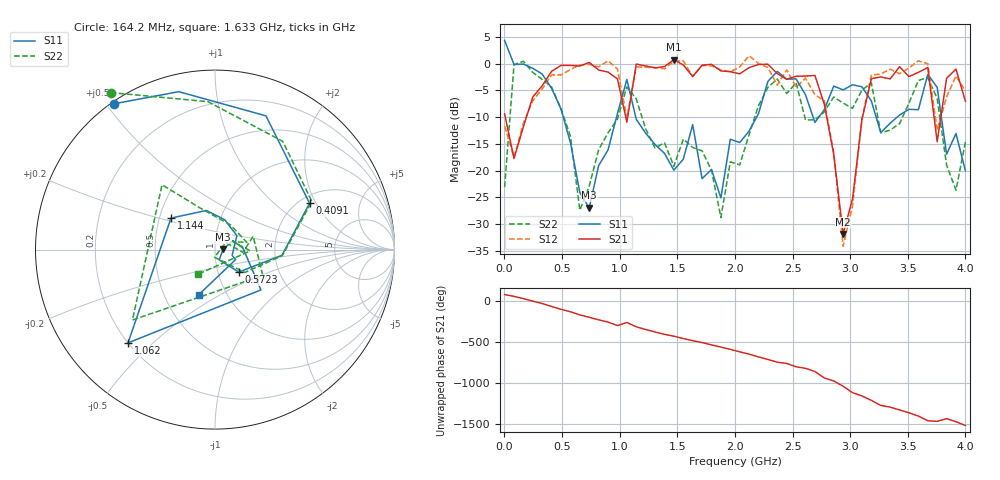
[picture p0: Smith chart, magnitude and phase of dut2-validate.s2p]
!Created with skrf (http://scikit-rf.org).
# GHz S DB R 50.0
!freq dBS11 angS11 dBS21 angS21 dBS12 angS12 dBS22 angS22
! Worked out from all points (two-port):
!   50 points, 1 MHz to 4 GHz, reference 50 ohm
!   highest |S21| = 0.73 dB at 1.47 GHz (marker M1); lowest = -31.8 dB at 2.939 GHz (marker M2)
!   |S21| within 3 dB of the highest: 384 MHz to 941.7 MHz (557.6 MHz wide, 84.1 % of centre); 1.639 GHz to 2.398 GHz (758.3 MHz wide, 37.6 % of centre)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
!   lowest |S11| = -27.0 dB at 735.5 MHz (marker M3), VSWR 1.09, Z = 54.7 + j0.0742 ohm
!   |S11| at or under -10 dB: 509.8 MHz to 972.7 MHz (462.8 MHz wide, 62.4 % of centre); 1.139 GHz to 2.188 GHz (1.049 GHz wide, 63.1 % of centre); 3.791 GHz to end of sweep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
!   |S22| runs from -28.8 to 0.4 dB; largest |S21 - S12| = 0.6
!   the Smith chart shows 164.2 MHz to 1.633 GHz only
!   S11 on the Smith chart (normalised r, x): 164.2 MHz: 0.01, +0.52; 409.1 MHz: 2.26, +1.78; 572.3 MHz: 1.26, -0.33; 1.062 GHz: 0.20, -0.42; 1.144 GHz: 0.57, +0.22; 1.633 GHz: 0.74, -0.40
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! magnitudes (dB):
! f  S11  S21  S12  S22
! 1 MHz  4.3  -9.4  -11.7  -23.1
! 82.61 MHz  -0.2  -17.7  -17.5  -0.2
! 164.2 MHz  -0.1  -11.8  -11.2  0.4
! 409.1 MHz  -4.6  -1.4  -2.1  -4.4
! 572.3 MHz  -14.8  -0.3  -1.1  -13.6
! 735.5 MHz  -27.0  0.2  -0.2  -22.9
! 1.062 GHz  -3.0  -11.0  -10.2  -4.4
! 1.144 GHz  -10.4  -0.1  -0.6  -6.6
! 1.388 GHz  -16.8  -0.6  -1.0  -14.8
! 1.47 GHz  -19.9  0.7  0.4  -19.2
! 1.633 GHz  -11.4  -2.4  -2.4  -15.7
! 1.878 GHz  -25.1  -1.4  -1.2  -28.8
! 2.041 GHz  -14.8  -1.9  -0.7  -18.9
! 2.368 GHz  -1.5  -1.9  -4.0  -2.9
! 2.694 GHz  -11.0  -2.2  -5.8  -10.5
! 2.939 GHz  -4.9  -31.8  -34.1  -7.4
! 3.184 GHz  -7.0  -2.8  -2.2  -3.6
! 3.347 GHz  -11.2  -2.9  -1.0  -12.4
! 3.674 GHz  -2.0  -0.7  0.0  -2.6
! 3.755 GHz  -4.5  -14.6  -12.4  -6.5
! 3.918 GHz  -13.1  -1.0  -2.3  -23.7
! 4 GHz  -20.0  -7.0  -5.1  -14.7
